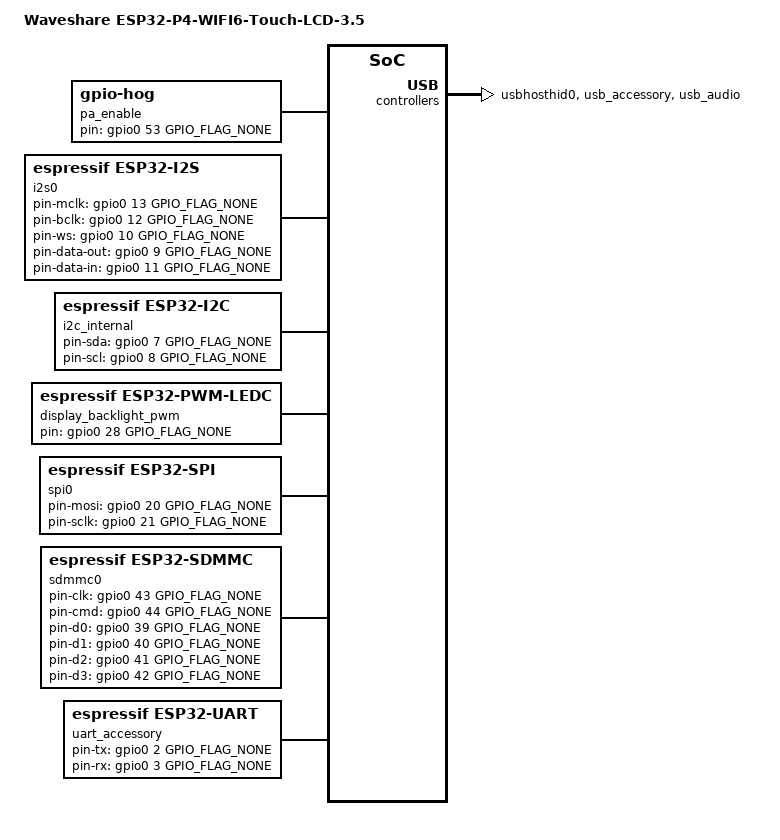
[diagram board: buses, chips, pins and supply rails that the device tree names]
/dts-v1/;

#include <tactility/bindings/root.h>
#include <tactility/bindings/esp32_ble.h>
#include <tactility/bindings/esp32_gpio.h>
#include <tactility/bindings/esp32_i2c.h>
#include <tactility/bindings/esp32_i2s.h>
#include <tactility/bindings/esp32_pwm_ledc.h>
#include <tactility/bindings/esp32_sdmmc.h>
#include <tactility/bindings/esp32_spi.h>
#include <tactility/bindings/esp32_uart.h>
#include <tactility/bindings/esp32_usbhost.h>
#include <tactility/bindings/esp32_wifi.h>
#include <tactility/bindings/gpio_hog.h>
#include <tactility/bindings/pwm_backlight.h>
#include <bindings/axp2101.h>
#include <bindings/es8311.h>
#include <bindings/ft6x36.h>
#include <bindings/st7796.h>

/ {
	compatible = "root";
	model = "Waveshare ESP32-P4-WIFI6-Touch-LCD-3.5";

	// Wi-Fi and BLE are provided by the ESP32-C6 co-processor via ESP-Hosted (SDIO).
	wifi0 {
		compatible = "espressif,esp32-wifi";
		status = "disabled";
	};

	ble0 {
		compatible = "espressif,esp32-ble";
	};

	gpio0 {
		compatible = "espressif,esp32-gpio";
		gpio-count = <57>;
	};

	// NS4150B power amp SD/EN (active-high per datasheet). Held high at boot so the
	// ES8311's DAC output reaches the speaker. The ES8311 driver does not manage
	// this line itself.
	pa_enable {
		compatible = "gpio-hog";
		pin = <&gpio0 53 GPIO_FLAG_NONE>;
		mode = <GPIO_HOG_MODE_OUTPUT_HIGH>;
	};

	// Must be declared before the ES8311 node so the phandle resolves.
	i2s0: i2s0 {
		compatible = "espressif,esp32-i2s";
		port = <I2S_NUM_0>;
		pin-mclk     = <&gpio0 13 GPIO_FLAG_NONE>;   // MCLK
		pin-bclk     = <&gpio0 12 GPIO_FLAG_NONE>;   // BCLK / SCLK
		pin-ws       = <&gpio0 10 GPIO_FLAG_NONE>;   // LRCK / WS
		pin-data-out = <&gpio0  9 GPIO_FLAG_NONE>;   // DSDIN (ESP -> codec DAC)
		pin-data-in  = <&gpio0 11 GPIO_FLAG_NONE>;   // ASDOUT (codec ADC -> ESP)
	};

	i2c_internal: i2c0 {
		compatible = "espressif,esp32-i2c";
		port = <I2C_NUM_0>;
		clock-frequency = <400000>;
		pin-sda = <&gpio0 7 GPIO_FLAG_NONE>;
		pin-scl = <&gpio0 8 GPIO_FLAG_NONE>;

		axp2101: axp2101 {
			// PMIC on the same shared I2C bus as touch/codec. The VBAT header connects
			// directly here; capacity is estimated from battery voltage in the driver's
			// power-supply child (piecewise Li-ion curve).
			compatible = "x-powers,axp2101";
			reg = <0x34>;
		};

		es8311: es8311@18 {
			// Audio codec. Shares I2C with touch and AXP2101. I2S clocks/data are routed
			// via i2s0 above. The NS4150B power amp is enabled separately via the
			// pa_enable gpio-hog on GPIO53.
			compatible = "everest,es8311";
			reg = <0x18>;
			i2s = <&i2s0>;
		};

		touch0 {
			compatible = "focaltech,ft6x36";
			reg = <0x38>;
			x-max = <320>;
			y-max = <480>;
			// Factory-stored touch detection threshold. The esp_lcd_touch_ft6336u
			// component's init overwrites it with its own default (128), which needs
			// much firmer presses than the panel is tuned for; 25 restores factory
			// touch sensitivity.
			touch-threshold = <25>;
			pin-reset = <&gpio0 29 GPIO_FLAG_NONE>;
			pin-interrupt = <&gpio0 50 GPIO_FLAG_NONE>;
		};
	};

	display_backlight_pwm {
		compatible = "espressif,esp32-pwm-ledc";
		pin = <&gpio0 28 GPIO_FLAG_NONE>;
		period-ns = <200000>;
		ledc-timer = <1>;
		ledc-channel = <0>;
	};

	display_backlight {
		compatible = "pwm-backlight";
		status = "disabled";
		pwm = <&display_backlight_pwm>;
	};

	spi0 {
		compatible = "espressif,esp32-spi";
		host = <SPI2_HOST>;
		cs-gpios = <&gpio0 23 GPIO_FLAG_NONE>;
		pin-mosi = <&gpio0 20 GPIO_FLAG_NONE>;
		pin-sclk = <&gpio0 21 GPIO_FLAG_NONE>;
		// Must hold one whole LVGL draw buffer (320 x 480/10 lines x 2 bytes = 30720) in a
		// single SPI transaction. Left at the 0 default, the bus caps transfers near 4092
		// bytes, so esp_lcd splits each tile into chunks whose address/length are not
		// 64-byte aligned. On the P4 the SPI driver then bounce-buffers every chunk through
		// heap_caps_aligned_alloc(MALLOC_CAP_DMA); when that allocation fails it returns
		// ESP_ERR_NO_MEM without logging, esp_lcd drops the tile, and LVGL still marks it
		// clean - leaving part-drawn screens until something invalidates them again. 30720
		// is a multiple of 64 and stays under the P4's 32767-byte per-transaction limit.
		max-transfer-size = <30720>;

		display0: display@0 {
			compatible = "sitronix,st7796";
			horizontal-resolution = <320>;
			vertical-resolution = <480>;
			mirror-x;
			invert-color;
			bgr-order;
			pixel-clock-hz = <80000000>;
			spi-mode = <3>;
			pin-dc = <&gpio0 26 GPIO_FLAG_NONE>;
			pin-reset = <&gpio0 27 GPIO_FLAG_NONE>;
			backlight = <&display_backlight>;
		};
	};

	sdmmc0 {
		compatible = "espressif,esp32-sdmmc";
		pin-clk = <&gpio0 43 GPIO_FLAG_NONE>;
		pin-cmd = <&gpio0 44 GPIO_FLAG_NONE>;
		pin-d0 = <&gpio0 39 GPIO_FLAG_NONE>;
		pin-d1 = <&gpio0 40 GPIO_FLAG_NONE>;
		pin-d2 = <&gpio0 41 GPIO_FLAG_NONE>;
		pin-d3 = <&gpio0 42 GPIO_FLAG_NONE>;
		bus-width = <4>;
		slot = <SDMMC_HOST_SLOT_0>;
		max-freq-khz = <SDMMC_FREQ_HIGHSPEED>;
		on-chip-ldo-chan = <4>;
	};

	// The board's USB OTG Type-C is wired to the P4's dedicated USBD_P/N pads
	// (controller 0, internal FS PHY behind the UTMI interface), so
	// peripheral-map BIT(0).
	usbhost0 {
		compatible = "espressif,esp32-usbhost";
		peripheral-map = <0>;

		// HID class client (keyboards, mice, headset Consumer Control buttons).
		usbhosthid0 {
			compatible = "espressif,esp32-usbhost-hid";
		};

		// Device C (compute accessory) attaches through a direct USB-C
		// connection and enumerates as a TinyUSB CDC-ACM device (0x303A:0x4001);
		// vid/pid are discovery hints only - AetherLink protocol-v2 CAPABILITIES
		// negotiation is authoritative for accessory identity.
		usb_accessory: usb-accessory {
			compatible = "espressif,esp32-usbhost-cdc";
			vid = <0x303A>;
			pid = <0x4001>;
		};

		// USB headphones/headsets (UAC 1.0, 48 kHz / 16-bit / stereo PCM output).
		// The manager installs the class client; a dynamic "usb_uac0" codec device
		// appears per connected headset and the audio-stream aggregate re-binds
		// output to it.
		usb_audio: usb-audio {
			compatible = "espressif,esp32-usbhost-uac";
		};
	};

	// AetherLink UART fallback to Device C: GPIO2 TX / GPIO3 RX, 921600 8N1.
	// Carries the same u32be + bounded-JSON protocol-v2 stream as USB.
	// GPIO2/GPIO3 are unassigned elsewhere in this devicetree (I2C is 7/8).
	uart_accessory: uart-accessory {
		compatible = "espressif,esp32-uart";
		port = <UART_NUM_1>;
		pin-tx = <&gpio0 2 GPIO_FLAG_NONE>;
		pin-rx = <&gpio0 3 GPIO_FLAG_NONE>;
	};
};
